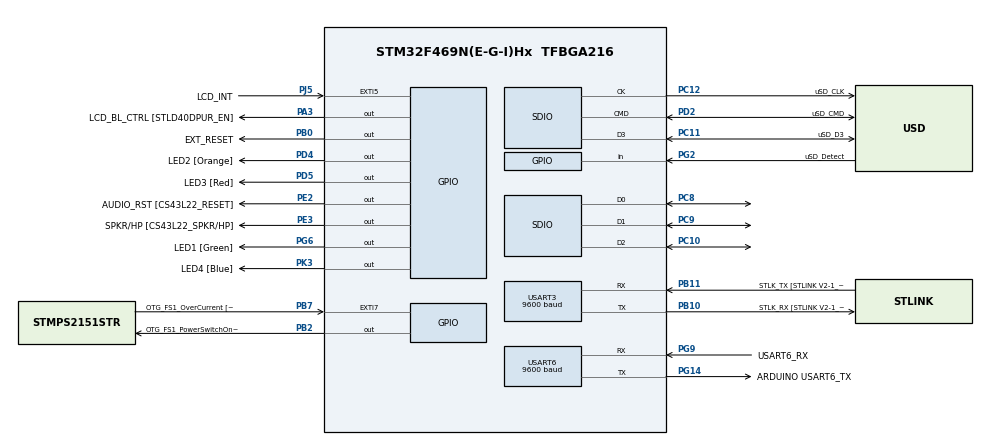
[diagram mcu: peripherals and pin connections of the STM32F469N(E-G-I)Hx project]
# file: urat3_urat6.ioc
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DSIHOST_CKN.GPIO_Label=DSI_CK_N
DSIHOST_CKN.Signal=DSIHOST_CKN
DSIHOST_CKP.GPIO_Label=DSI_CK_P
DSIHOST_CKP.Signal=DSIHOST_CKP
DSIHOST_D0N.GPIO_Label=DSI_D0_N
DSIHOST_D0N.Signal=DSIHOST_D0N
DSIHOST_D0P.GPIO_Label=DSI_D0_P
DSIHOST_D0P.Signal=DSIHOST_D0P
DSIHOST_D1N.GPIO_Label=DSI_D1_N
DSIHOST_D1N.Signal=DSIHOST_D1N
DSIHOST_D1P.GPIO_Label=DSI_D1_P
DSIHOST_D1P.Signal=DSIHOST_D1P
Dma.Request0=SDIO_RX
Dma.Request1=SDIO_TX
Dma.SDIO_RX.0.Direction=DMA_PERIPH_TO_MEMORY
Dma.SDIO_RX.0.FIFOMode=DMA_FIFOMODE_ENABLE
Dma.SDIO_RX.0.FIFOThreshold=DMA_FIFO_THRESHOLD_FULL
Dma.SDIO_RX.0.Instance=DMA2_Stream3
Dma.SDIO_RX.0.MemBurst=DMA_MBURST_INC4
Dma.SDIO_RX.0.MemDataAlignment=DMA_MDATAALIGN_WORD
Dma.SDIO_RX.0.MemInc=DMA_MINC_ENABLE
Dma.SDIO_RX.0.Mode=DMA_PFCTRL
Dma.SDIO_RX.0.PeriphBurst=DMA_PBURST_INC4
Dma.SDIO_RX.0.PeriphDataAlignment=DMA_PDATAALIGN_WORD
Dma.SDIO_RX.0.PeriphInc=DMA_PINC_DISABLE
Dma.SDIO_RX.0.Priority=DMA_PRIORITY_LOW
Dma.SDIO_TX.1.Direction=DMA_MEMORY_TO_PERIPH
Dma.SDIO_TX.1.FIFOMode=DMA_FIFOMODE_ENABLE
Dma.SDIO_TX.1.FIFOThreshold=DMA_FIFO_THRESHOLD_FULL
Dma.SDIO_TX.1.Instance=DMA2_Stream6
Dma.SDIO_TX.1.MemBurst=DMA_MBURST_INC4
Dma.SDIO_TX.1.MemDataAlignment=DMA_MDATAALIGN_WORD
Dma.SDIO_TX.1.MemInc=DMA_MINC_ENABLE
Dma.SDIO_TX.1.Mode=DMA_PFCTRL
Dma.SDIO_TX.1.PeriphBurst=DMA_PBURST_INC4
Dma.SDIO_TX.1.PeriphDataAlignment=DMA_PDATAALIGN_WORD
Dma.SDIO_TX.1.PeriphInc=DMA_PINC_DISABLE
Dma.SDIO_TX.1.Priority=DMA_PRIORITY_LOW
Mcu.Family=STM32F4
Mcu.Name=STM32F469N(E-G-I)Hx
Mcu.Package=TFBGA216
NVIC.DMA2_Stream3_IRQn=true\:0\:0\:false\:false\:true
NVIC.DMA2_Stream6_IRQn=true\:0\:0\:false\:false\:true
NVIC.PriorityGroup=NVIC_PRIORITYGROUP_4
NVIC.SDIO_IRQn=true\:0\:0\:false\:false\:true
NVIC.USART3_IRQn=true\:0\:0\:false\:false\:true
NVIC.USART6_IRQn=true\:0\:0\:false\:false\:true
PA0/WKUP.GPIO_Label=WAKEUP [B2]
PA0/WKUP.Signal=SYS_WKUP
PA10.GPIO_Label=USB_FS1_ID
PA10.GPIO_Mode=GPIO_MODE_AF_PP
PA10.GPIO_PuPd=GPIO_NOPULL
PA10.GPIO_Speed=GPIO_SPEED_FREQ_VERY_HIGH
PA10.Signal=USB_OTG_FS_ID
PA11.GPIO_Label=USB_FS1_N
PA11.GPIO_Mode=GPIO_MODE_AF_PP
PA11.GPIO_PuPd=GPIO_NOPULL
PA11.GPIO_Speed=GPIO_SPEED_FREQ_VERY_HIGH
PA11.Signal=USB_OTG_FS_DM
PA12.GPIO_Label=USB_FS1_P
PA12.GPIO_Mode=GPIO_MODE_AF_PP
PA12.GPIO_PuPd=GPIO_NOPULL
PA12.GPIO_Speed=GPIO_SPEED_FREQ_VERY_HIGH
PA12.Signal=USB_OTG_FS_DP
PA13.GPIO_Label=SWDIO
PA13.Signal=SYS_JTMS-SWDIO
PA14.GPIO_Label=SWCLK
PA14.Signal=SYS_JTCK-SWCLK
PA3.GPIO_Label=LCD_BL_CTRL [STLD40DPUR_EN]
PA3.Signal=GPIO_Output
PA9.GPIO_Label=VBUS_FS1
PA9.GPIO_Mode=GPIO_MODE_AF_PP
PA9.GPIO_PuPd=GPIO_NOPULL
PA9.GPIO_Speed=GPIO_SPEED_FREQ_VERY_HIGH
PA9.Signal=USB_OTG_FS_VBUS
PB0.GPIO_Label=EXT_RESET
PB0.Signal=GPIO_Output
PB10.GPIO_Label=STLK_RX [STLINK V2-1_U2_RX]
PB10.Mode=Asynchronous
PB10.Signal=USART3_TX
PB11.GPIO_Label=STLK_TX [STLINK V2-1_U2_TX]
PB11.Mode=Asynchronous
PB11.Signal=USART3_RX
PB2/BOOT1.GPIO_Label=OTG_FS1_PowerSwitchOn [STMPS2151STR_En]
PB2/BOOT1.Signal=GPIO_Output
PB3.GPIO_Label=I2S3_CK
PB3.GPIO_Mode=GPIO_MODE_AF_PP
PB3.GPIO_PuPd=GPIO_NOPULL
PB3.GPIO_Speed=GPIO_SPEED_FREQ_LOW
PB3.Signal=I2S3_CK
PB6.GPIO_Label=QSPI_BK1_NCS [N25Q128A13EF840F_S]
PB6.GPIO_Mode=GPIO_MODE_AF_PP
PB6.GPIO_PuPd=GPIO_NOPULL
PB6.GPIO_Speed=GPIO_SPEED_FREQ_VERY_HIGH
PB6.Signal=QUADSPI_BK1_NCS
PB7.GPIO_Label=OTG_FS1_OverCurrent [STMPS2151STR_FAULT]
PB7.GPIO_ModeDefaultEXTI=GPIO_MODE_IT_RISING
PB7.GPIO_PuPd=GPIO_NOPULL
PB7.Signal=GPXTI7
PB8.GPIO_Label=I2C1_SCL
PB8.GPIO_Mode=GPIO_MODE_AF_OD
PB8.GPIO_PuPdOD=GPIO_PULLUP
PB8.GPIO_Speed=GPIO_SPEED_FREQ_VERY_HIGH
PB8.Signal=I2C1_SCL
PB9.GPIO_Label=I2C1_SDA
PB9.GPIO_Mode=GPIO_MODE_AF_OD
PB9.GPIO_PuPdOD=GPIO_PULLUP
PB9.GPIO_Speed=GPIO_SPEED_FREQ_VERY_HIGH
PB9.Signal=I2C1_SDA
PC0.GPIO_Label=SDNWE [MT48LC4M32B2B5-6A_WE]
PC0.Signal=FMC_SDNWE
PC10.Mode=SD_4_bits_Wide_bus
PC10.Signal=SDIO_D2
PC11.GPIO_Label=uSD_D3
PC11.GPIO_Mode=GPIO_MODE_AF_PP
PC11.GPIO_PuPd=GPIO_NOPULL
PC11.GPIO_Speed_High_Default=GPIO_SPEED_FREQ_VERY_HIGH
PC11.Mode=SD_4_bits_Wide_bus
PC11.Signal=SDIO_D3
PC12.GPIO_Label=uSD_CLK
PC12.GPIO_Mode=GPIO_MODE_AF_PP
PC12.GPIO_PuPd=GPIO_NOPULL
PC12.GPIO_Speed_High_Default=GPIO_SPEED_FREQ_VERY_HIGH
PC12.Mode=SD_4_bits_Wide_bus
PC12.Signal=SDIO_CK
PC14/OSC32_IN.Signal=RCC_OSC32_IN
PC15/OSC32_OUT.Signal=RCC_OSC32_OUT
PC8.Mode=SD_4_bits_Wide_bus
PC8.Signal=SDIO_D0
PC9.Mode=SD_4_bits_Wide_bus
PC9.Signal=SDIO_D1
PD0.GPIO_Label=D2
PD0.GPIO_Mode=GPIO_MODE_AF_PP
PD0.GPIO_PuPd=GPIO_NOPULL
PD0.GPIO_Speed_High_Default=GPIO_SPEED_FREQ_VERY_HIGH
PD0.Signal=FMC_D2_DA2
PD1.GPIO_Label=D3
PD1.GPIO_Mode=GPIO_MODE_AF_PP
PD1.GPIO_PuPd=GPIO_NOPULL
PD1.GPIO_Speed_High_Default=GPIO_SPEED_FREQ_VERY_HIGH
PD1.Signal=FMC_D3_DA3
PD10.GPIO_Label=D15
PD10.Signal=FMC_D15_DA15
PD13.GPIO_Label=MIC_CK [MP34DT01TR_CLK]
PD13.Signal=S_TIM4_CH2
PD14.GPIO_Label=D0
PD14.Signal=FMC_D0_DA0
PD15.GPIO_Label=D1
PD15.Signal=FMC_D1_DA1
PD2.GPIO_Label=uSD_CMD
PD2.GPIO_Mode=GPIO_MODE_AF_PP
PD2.GPIO_PuPd=GPIO_NOPULL
PD2.GPIO_Speed_High_Default=GPIO_SPEED_FREQ_VERY_HIGH
PD2.Mode=SD_4_bits_Wide_bus
PD2.Signal=SDIO_CMD
PD4.GPIO_Label=LED2 [Orange]
PD4.GPIO_ModeDefaultOutputPP=GPIO_MODE_OUTPUT_OD
PD4.GPIO_PuPd=GPIO_NOPULL
PD4.GPIO_Speed=GPIO_SPEED_FREQ_LOW
PD4.Signal=GPIO_Output
PD5.GPIO_Label=LED3 [Red]
PD5.GPIO_ModeDefaultOutputPP=GPIO_MODE_OUTPUT_OD
PD5.GPIO_PuPd=GPIO_NOPULL
PD5.GPIO_Speed=GPIO_SPEED_FREQ_LOW
PD5.Signal=GPIO_Output
PD6.GPIO_Label=MIC_DATA [MP34DT01TR_DOUT]
PD6.GPIO_Mode=GPIO_MODE_AF_PP
PD6.GPIO_PuPd=GPIO_NOPULL
PD6.GPIO_Speed=GPIO_SPEED_FREQ_LOW
PD6.Signal=SAI1_SD_A
PD8.GPIO_Label=D13
PD8.Signal=FMC_D13_DA13
PD9.GPIO_Label=D14
PD9.Signal=FMC_D14_DA14
PE0.GPIO_Label=FMC_NBL0 [ MT48LC4M32B2B5-6A_DQM0]
PE0.GPIO_Mode=GPIO_MODE_AF_PP
PE0.GPIO_PuPd=GPIO_NOPULL
PE0.GPIO_Speed_High_Default=GPIO_SPEED_FREQ_VERY_HIGH
PE0.Signal=FMC_NBL0
PE1.GPIO_Label=FMC_NBL1 [ MT48LC4M32B2B5-6A_DQM1]
PE1.GPIO_Mode=GPIO_MODE_AF_PP
PE1.GPIO_PuPd=GPIO_NOPULL
PE1.GPIO_Speed_High_Default=GPIO_SPEED_FREQ_VERY_HIGH
PE1.Signal=FMC_NBL1
PE10.GPIO_Label=D7
PE10.Signal=FMC_D7_DA7
PE11.GPIO_Label=D8
PE11.Signal=FMC_D8_DA8
PE12.GPIO_Label=D9
PE12.Signal=FMC_D9_DA9
PE13.GPIO_Label=D10
PE13.Signal=FMC_D10_DA10
PE14.GPIO_Label=D11
PE14.Signal=FMC_D11_DA11
PE15.GPIO_Label=D12
PE15.Signal=FMC_D12_DA12
PE2.GPIO_Label=AUDIO_RST [CS43L22_RESET]
PE2.GPIO_ModeDefaultOutputPP=GPIO_MODE_OUTPUT_PP
PE2.GPIO_PuPd=GPIO_NOPULL
PE2.GPIO_Speed=GPIO_SPEED_FREQ_LOW
PE2.Signal=GPIO_Output
PE3.GPIO_Label=SPKR/HP [CS43L22_SPKR/HP]
PE3.GPIO_ModeDefaultOutputPP=GPIO_MODE_OUTPUT_PP
PE3.GPIO_PuPd=GPIO_NOPULL
PE3.GPIO_Speed=GPIO_SPEED_FREQ_LOW
PE3.Signal=GPIO_Output
PE4.GPIO_Label=SAI1_FSA [CS43L22_LRCK]
PE4.GPIO_Mode=GPIO_MODE_AF_PP
PE4.GPIO_PuPd=GPIO_NOPULL
PE4.GPIO_Speed=GPIO_SPEED_FREQ_LOW
PE4.Signal=SAI1_FS_A
PE5.GPIO_Label=SAI1_SCKA [CS43L22_CLK]
PE5.GPIO_Mode=GPIO_MODE_AF_PP
PE5.GPIO_PuPd=GPIO_NOPULL
PE5.GPIO_Speed=GPIO_SPEED_FREQ_LOW
PE5.Signal=SAI1_SCK_A
PE7.GPIO_Label=D4
PE7.Signal=FMC_D4_DA4
PE8.GPIO_Label=D5
PE8.Signal=FMC_D5_DA5
PE9.GPIO_Label=D6
PE9.Signal=FMC_D6_DA6
PF0.GPIO_Label=A0
PF0.GPIO_Mode=GPIO_MODE_AF_PP
PF0.GPIO_PuPd=GPIO_NOPULL
PF0.GPIO_Speed_High_Default=GPIO_SPEED_FREQ_VERY_HIGH
PF0.Signal=FMC_A0
PF1.GPIO_Label=A1
PF1.GPIO_Mode=GPIO_MODE_AF_PP
PF1.GPIO_PuPd=GPIO_NOPULL
PF1.GPIO_Speed_High_Default=GPIO_SPEED_FREQ_VERY_HIGH
PF1.Signal=FMC_A1
PF10.GPIO_Label=QSPI_CLK [N25Q128A13EF840F_C]
PF10.Signal=QUADSPI_CLK
PF11.GPIO_Label=SDNMT48LC4M32B2B5-6A_RAS]RAS [
PF11.Signal=FMC_SDNRAS
PF12.GPIO_Label=A6
PF12.Signal=FMC_A6
PF13.GPIO_Label=A7
PF13.Signal=FMC_A7
PF14.GPIO_Label=A8
PF14.Signal=FMC_A8
PF15.GPIO_Label=A9
PF15.Signal=FMC_A9
PF2.GPIO_Label=A2
PF2.GPIO_Mode=GPIO_MODE_AF_PP
PF2.GPIO_PuPd=GPIO_NOPULL
PF2.GPIO_Speed_High_Default=GPIO_SPEED_FREQ_VERY_HIGH
PF2.Signal=FMC_A2
PF3.GPIO_Label=A3
PF3.GPIO_Mode=GPIO_MODE_AF_PP
PF3.GPIO_PuPd=GPIO_NOPULL
PF3.GPIO_Speed_High_Default=GPIO_SPEED_FREQ_VERY_HIGH
PF3.Signal=FMC_A3
PF4.GPIO_Label=A4
PF4.GPIO_Mode=GPIO_MODE_AF_PP
PF4.GPIO_PuPd=GPIO_NOPULL
PF4.GPIO_Speed_High_Default=GPIO_SPEED_FREQ_VERY_HIGH
PF4.Signal=FMC_A4
PF5.GPIO_Label=A5
PF5.Signal=FMC_A5
PF6.GPIO_Label=QSPI_BK1_IO3 [N25Q128A13EF840F_DQ3]
PF6.Signal=QUADSPI_BK1_IO3
PF7.GPIO_Label=QSPI_BK1_IO2 [N25Q128A13EF840F_DQ2]
PF7.Signal=QUADSPI_BK1_IO2
PF8.GPIO_Label=QSPI_BK1_IO0 [N25Q128A13EF840F_DQ0]
PF8.Signal=QUADSPI_BK1_IO0
PF9.GPIO_Label=QSPI_BK1_IO1 [N25Q128A13EF840F_DQ1]
PF9.Signal=QUADSPI_BK1_IO1
PG0.GPIO_Label=A10
PG0.Signal=FMC_A10
PG1.GPIO_Label=A11
PG1.Signal=FMC_A11
PG14.GPIO_Label=ARDUINO USART6_TX
PG14.GPIO_Mode=GPIO_MODE_AF_PP
PG14.GPIO_PuPd=GPIO_NOPULL
PG14.GPIO_Speed=GPIO_SPEED_FREQ_VERY_HIGH
PG14.Mode=Asynchronous
PG14.Signal=USART6_TX
PG15.GPIO_Label=SDNCAS [MT48LC4M32B2B5-6A_CAS]
PG15.GPIO_Mode=GPIO_MODE_AF_PP
PG15.GPIO_PuPd=GPIO_NOPULL
PG15.GPIO_Speed_High_Default=GPIO_SPEED_FREQ_VERY_HIGH
PG15.Signal=FMC_SDNCAS
PG2.GPIO_Label=uSD_Detect
PG2.Signal=GPIO_Input
PG4.Signal=FMC_A14_BA0
PG5.Signal=FMC_A15_BA1
PG6.GPIO_Label=LED1 [Green]
PG6.GPIO_ModeDefaultOutputPP=GPIO_MODE_OUTPUT_OD
PG6.GPIO_PuPd=GPIO_NOPULL
PG6.GPIO_Speed=GPIO_SPEED_FREQ_LOW
PG6.Signal=GPIO_Output
PG7.GPIO_Label=SAI1_MCLKA [CS43L22_MCLK]
PG7.GPIO_Mode=GPIO_MODE_AF_PP
PG7.GPIO_PuPd=GPIO_NOPULL
PG7.GPIO_Speed=GPIO_SPEED_FREQ_LOW
PG7.Signal=SAI1_MCLK_A
PG8.Signal=FMC_SDCLK
PG9.GPIO_Label=USART6_RX
PG9.GPIO_Mode=GPIO_MODE_AF_PP
PG9.GPIO_PuPd=GPIO_NOPULL
PG9.GPIO_Speed=GPIO_SPEED_FREQ_VERY_HIGH
PG9.Mode=Asynchronous
PG9.Signal=USART6_RX
PH0/OSC_IN.Signal=RCC_OSC_IN
PH1/OSC_OUT.Signal=RCC_OSC_OUT
PH10.GPIO_Label=D18
PH10.Signal=FMC_D18
PH11.GPIO_Label=D19
PH11.Signal=FMC_D19
PH12.GPIO_Label=D20
PH12.Signal=FMC_D20
PH13.GPIO_Label=D21
PH13.GPIO_Mode=GPIO_MODE_AF_PP
PH13.GPIO_PuPd=GPIO_NOPULL
PH13.GPIO_Speed_High_Default=GPIO_SPEED_FREQ_VERY_HIGH
PH13.Signal=FMC_D21
PH14.GPIO_Label=D22
PH14.GPIO_Mode=GPIO_MODE_AF_PP
PH14.GPIO_PuPd=GPIO_NOPULL
PH14.GPIO_Speed_High_Default=GPIO_SPEED_FREQ_VERY_HIGH
PH14.Signal=FMC_D22
PH15.GPIO_Label=D23
PH15.GPIO_Mode=GPIO_MODE_AF_PP
PH15.GPIO_PuPd=GPIO_NOPULL
PH15.GPIO_Speed_High_Default=GPIO_SPEED_FREQ_VERY_HIGH
PH15.Signal=FMC_D23
PH2.GPIO_Label=SDCKE0 [MT48LC4M32B2B5-6A_CKE]
PH2.Signal=FMC_SDCKE0
PH3.GPIO_Label=SDNE0 [MT48LC4M32B2B5-6A_CS]
PH3.GPIO_Mode=GPIO_MODE_AF_PP
PH3.GPIO_PuPd=GPIO_NOPULL
PH3.GPIO_Speed_High_Default=GPIO_SPEED_FREQ_VERY_HIGH
PH3.Signal=FMC_SDNE0
PH4.GPIO_Label=I2C2_SCL [CS43L22_SCL]
PH4.GPIO_Mode=GPIO_MODE_AF_OD
PH4.GPIO_PuPdOD=GPIO_PULLUP
PH4.GPIO_Speed=GPIO_SPEED_FREQ_VERY_HIGH
PH4.Signal=I2C2_SCL
PH5.GPIO_Label=I2C2_SDA [CS43L22_SDA]
PH5.GPIO_Mode=GPIO_MODE_AF_OD
PH5.GPIO_PuPdOD=GPIO_PULLUP
PH5.GPIO_Speed=GPIO_SPEED_FREQ_VERY_HIGH
PH5.Signal=I2C2_SDA
PH8.GPIO_Label=D16
PH8.Signal=FMC_D16
PH9.GPIO_Label=D17
PH9.Signal=FMC_D17
PI0.GPIO_Label=D24
PI0.GPIO_Mode=GPIO_MODE_AF_PP
PI0.GPIO_PuPd=GPIO_NOPULL
PI0.GPIO_Speed_High_Default=GPIO_SPEED_FREQ_VERY_HIGH
PI0.Signal=FMC_D24
PI1.GPIO_Label=D25
PI1.GPIO_Mode=GPIO_MODE_AF_PP
PI1.GPIO_PuPd=GPIO_NOPULL
PI1.GPIO_Speed_High_Default=GPIO_SPEED_FREQ_VERY_HIGH
PI1.Signal=FMC_D25
PI10.GPIO_Label=D31
PI10.GPIO_Mode=GPIO_MODE_AF_PP
PI10.GPIO_PuPd=GPIO_NOPULL
PI10.GPIO_Speed_High_Default=GPIO_SPEED_FREQ_VERY_HIGH
PI10.Signal=FMC_D31
PI2.GPIO_Label=D26
PI2.GPIO_Mode=GPIO_MODE_AF_PP
PI2.GPIO_PuPd=GPIO_NOPULL
PI2.GPIO_Speed_High_Default=GPIO_SPEED_FREQ_VERY_HIGH
PI2.Signal=FMC_D26
PI3.GPIO_Label=D27
PI3.GPIO_Mode=GPIO_MODE_AF_PP
PI3.GPIO_PuPd=GPIO_NOPULL
PI3.GPIO_Speed_High_Default=GPIO_SPEED_FREQ_VERY_HIGH
PI3.Signal=FMC_D27
PI4.GPIO_Label=FMC_NBL2 [MT48LC4M32B2B5-6A_DQM2]
PI4.GPIO_Mode=GPIO_MODE_AF_PP
PI4.GPIO_PuPd=GPIO_NOPULL
PI4.GPIO_Speed_High_Default=GPIO_SPEED_FREQ_VERY_HIGH
PI4.Signal=FMC_NBL2
PI5.GPIO_Label=FMC_NBL3 [MT48LC4M32B2B5-6A_DQM3]
PI5.GPIO_Mode=GPIO_MODE_AF_PP
PI5.GPIO_PuPd=GPIO_NOPULL
PI5.GPIO_Speed_High_Default=GPIO_SPEED_FREQ_VERY_HIGH
PI5.Signal=FMC_NBL3
PI6.GPIO_Label=D28
PI6.GPIO_Mode=GPIO_MODE_AF_PP
PI6.GPIO_PuPd=GPIO_NOPULL
PI6.GPIO_Speed_High_Default=GPIO_SPEED_FREQ_VERY_HIGH
PI6.Signal=FMC_D28
PI7.GPIO_Label=D29
PI7.GPIO_Mode=GPIO_MODE_AF_PP
PI7.GPIO_PuPd=GPIO_NOPULL
PI7.GPIO_Speed_High_Default=GPIO_SPEED_FREQ_VERY_HIGH
PI7.Signal=FMC_D29
PI9.GPIO_Label=D30
PI9.GPIO_Mode=GPIO_MODE_AF_PP
PI9.GPIO_PuPd=GPIO_NOPULL
PI9.GPIO_Speed_High_Default=GPIO_SPEED_FREQ_VERY_HIGH
PI9.Signal=FMC_D30
PJ2.GPIO_Label=DSI_TE
PJ2.Signal=DSIHOST_TE
PJ5.GPIO_Label=LCD_INT
PJ5.Signal=GPXTI5
PK3.GPIO_Label=LED4 [Blue]
PK3.GPIO_ModeDefaultOutputPP=GPIO_MODE_OUTPUT_OD
PK3.GPIO_PuPd=GPIO_NOPULL
PK3.GPIO_Speed=GPIO_SPEED_FREQ_LOW
PK3.Signal=GPIO_Output
ProjectManager.HeapSize=0x200
ProjectManager.StackSize=0x400
ProjectManager.TargetToolchain=MDK-ARM V5
RCC.CortexFreq_Value=16000000
RCC.VCOOutputFreq_Value=192000000
SH.FMC_A0.0=FMC_A0
SH.FMC_A1.0=FMC_A1
SH.FMC_A10.0=FMC_A10
SH.FMC_A11.0=FMC_A11
SH.FMC_A14_BA0.0=FMC_BA0
SH.FMC_A15_BA1.0=FMC_BA1
SH.FMC_A2.0=FMC_A2
SH.FMC_A3.0=FMC_A3
SH.FMC_A4.0=FMC_A4
SH.FMC_A5.0=FMC_A5
SH.FMC_A6.0=FMC_A6
SH.FMC_A7.0=FMC_A7
SH.FMC_A8.0=FMC_A8
SH.FMC_A9.0=FMC_A9
SH.FMC_D0_DA0.0=FMC_D0
SH.FMC_D10_DA10.0=FMC_D10
SH.FMC_D11_DA11.0=FMC_D11
SH.FMC_D12_DA12.0=FMC_D12
SH.FMC_D13_DA13.0=FMC_D13
SH.FMC_D14_DA14.0=FMC_D14
SH.FMC_D15_DA15.0=FMC_D15
SH.FMC_D16.0=FMC_D16
SH.FMC_D17.0=FMC_D17
SH.FMC_D18.0=FMC_D18
SH.FMC_D19.0=FMC_D19
SH.FMC_D1_DA1.0=FMC_D1
SH.FMC_D20.0=FMC_D20
SH.FMC_D21.0=FMC_D21
SH.FMC_D22.0=FMC_D22
SH.FMC_D23.0=FMC_D23
SH.FMC_D24.0=FMC_D24
SH.FMC_D25.0=FMC_D25
SH.FMC_D26.0=FMC_D26
SH.FMC_D27.0=FMC_D27
SH.FMC_D28.0=FMC_D28
SH.FMC_D29.0=FMC_D29
SH.FMC_D2_DA2.0=FMC_D2
SH.FMC_D30.0=FMC_D30
SH.FMC_D31.0=FMC_D31
SH.FMC_D3_DA3.0=FMC_D3
SH.FMC_D4_DA4.0=FMC_D4
SH.FMC_D5_DA5.0=FMC_D5
SH.FMC_D6_DA6.0=FMC_D6
SH.FMC_D7_DA7.0=FMC_D7
SH.FMC_D8_DA8.0=FMC_D8
SH.FMC_D9_DA9.0=FMC_D9
SH.FMC_NBL0.0=FMC_NBL0
SH.FMC_NBL1.0=FMC_NBL1
SH.FMC_NBL2.0=FMC_NBL2
SH.FMC_NBL3.0=FMC_NBL3
SH.FMC_SDCLK.0=FMC_SDCLK
SH.FMC_SDNCAS.0=FMC_SDNCAS
SH.FMC_SDNRAS.0=FMC_SDNRAS
SH.FMC_SDNWE.0=FMC_SDNWE
SH.S_TIM4_CH2.0=TIM4_CH2
USART3.BaudRate=9600
USART3.VirtualMode=VM_ASYNC
USART6.BaudRate=9600
USART6.VirtualMode=VM_ASYNC
board=STM32F469I-DISCO

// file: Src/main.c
/**
  ******************************************************************************
  * File Name          : main.c
  * Description        : Main program body
  ******************************************************************************
  *
  * COPYRIGHT(c) 2017 STMicroelectronics
  *
  * Redistribution and use in source and binary forms, with or without modification,
  * are permitted provided that the following conditions are met:
  *   1. Redistributions of source code must retain the above copyright notice,
  *      this list of conditions and the following disclaimer.
  *   2. Redistributions in binary form must reproduce the above copyright notice,
  *      this list of conditions and the following disclaimer in the documentation
  *      and/or other materials provided with the distribution.
  *   3. Neither the name of STMicroelectronics nor the names of its contributors
  *      may be used to endorse or promote products derived from this software
  *      without specific prior written permission.
  *
  * THIS SOFTWARE IS PROVIDED BY THE COPYRIGHT HOLDERS AND CONTRIBUTORS "AS IS"
  * AND ANY EXPRESS OR IMPLIED WARRANTIES, INCLUDING, BUT NOT LIMITED TO, THE
  * IMPLIED WARRANTIES OF MERCHANTABILITY AND FITNESS FOR A PARTICULAR PURPOSE ARE
  * DISCLAIMED. IN NO EVENT SHALL THE COPYRIGHT HOLDER OR CONTRIBUTORS BE LIABLE
  * FOR ANY DIRECT, INDIRECT, INCIDENTAL, SPECIAL, EXEMPLARY, OR CONSEQUENTIAL
  * DAMAGES (INCLUDING, BUT NOT LIMITED TO, PROCUREMENT OF SUBSTITUTE GOODS OR
  * SERVICES; LOSS OF USE, DATA, OR PROFITS; OR BUSINESS INTERRUPTION) HOWEVER
  * CAUSED AND ON ANY THEORY OF LIABILITY, WHETHER IN CONTRACT, STRICT LIABILITY,
  * OR TORT (INCLUDING NEGLIGENCE OR OTHERWISE) ARISING IN ANY WAY OUT OF THE USE
  * OF THIS SOFTWARE, EVEN IF ADVISED OF THE POSSIBILITY OF SUCH DAMAGE.
  *
  ******************************************************************************
  */
#include "main.h"
#include "stm32f4xx_hal.h"
#include "dma.h"
#include "sdio.h"
#include "usart.h"
#include "gpio.h"
#include <string.h>

/* USER CODE BEGIN PV */
/* Private variables ---------------------------------------------------------*/
uint8_t aTxStartMessage[] = "\r\n****UART-Hyperterminal communication based on IT ****\r\nEnter 10 characters using keyboard :\r\n";

/* Buffer used for reception */
uint8_t aRxBuffer[20];
HAL_SD_CardInfoTypeDef *SDCardInfo1;
/* Private variables ---------------------------------------------------------*/
uint32_t Buffer_Tx[512/4], Buffer_Rx[512/4];
uint32_t i;
/* USER CODE END PV */

void SystemClock_Config(void);
void Error_Handler(void);

/* USER CODE BEGIN PFP */
/* Private function prototypes -----------------------------------------------*/

/* USER CODE END PFP */

int main(void)
{

  /* MCU Configuration----------------------------------------------------------*/

  /* Reset of all peripherals, Initializes the Flash interface and the Systick. */
  HAL_Init();

  /* Configure the system clock */
  SystemClock_Config();

  /* Initialize all configured peripherals */
  MX_GPIO_Init();
  MX_DMA_Init();
  MX_USART3_UART_Init();
  MX_USART6_UART_Init();
  MX_SDIO_SD_Init();
	SD_HandleTypeDef *cardHandle;

  /* USER CODE BEGIN 2 */
	HAL_UART_Transmit_IT(&huart6, (uint8_t *)aTxStartMessage, sizeof(aTxStartMessage));
  HAL_UART_Receive_IT(&huart6, (uint8_t *)aRxBuffer, 10);

	HAL_SD_GetCardInfo(cardHandle, SDCardInfo1);

	printf(" Warning: this program may erase all the TF card data. \r\n");

  printf("\r\n Initialize SD card successfully!\r\n\r\n");
  printf(" SD card information! \r\n");

  printf(" CardCapacity  : %llu \r\n",SDCardInfo1->BlockNbr);
  printf(" CardBlockSize : %d \r\n",SDCardInfo1->BlockSize);
  printf(" RCA           : %d \r\n",SDCardInfo1->RelCardAdd);
  printf(" CardType      : %d \r\n",SDCardInfo1->CardType);
  /* USER CODE END 2 */

  /* Infinite loop */
  while (1)
  {

  }

}

/** System Clock Configuration
*/
void SystemClock_Config(void)
{

  RCC_OscInitTypeDef RCC_OscInitStruct;
  RCC_ClkInitTypeDef RCC_ClkInitStruct;
  RCC_PeriphCLKInitTypeDef PeriphClkInitStruct;

    /**Configure the main internal regulator output voltage
    */
  __HAL_RCC_PWR_CLK_ENABLE();

  __HAL_PWR_VOLTAGESCALING_CONFIG(PWR_REGULATOR_VOLTAGE_SCALE3);

    /**Initializes the CPU, AHB and APB busses clocks
    */
  RCC_OscInitStruct.OscillatorType = RCC_OSCILLATORTYPE_HSI;
  RCC_OscInitStruct.HSIState = RCC_HSI_ON;
  RCC_OscInitStruct.HSICalibrationValue = 16;
  RCC_OscInitStruct.PLL.PLLState = RCC_PLL_ON;
  RCC_OscInitStruct.PLL.PLLSource = RCC_PLLSOURCE_HSI;
  RCC_OscInitStruct.PLL.PLLM = 16;
  RCC_OscInitStruct.PLL.PLLN = 192;
  RCC_OscInitStruct.PLL.PLLP = RCC_PLLP_DIV2;
  RCC_OscInitStruct.PLL.PLLQ = 4;
  RCC_OscInitStruct.PLL.PLLR = 2;
  if (HAL_RCC_OscConfig(&RCC_OscInitStruct) != HAL_OK)
  {
    Error_Handler();
  }

    /**Initializes the CPU, AHB and APB busses clocks
    */
  RCC_ClkInitStruct.ClockType = RCC_CLOCKTYPE_HCLK|RCC_CLOCKTYPE_SYSCLK
                              |RCC_CLOCKTYPE_PCLK1|RCC_CLOCKTYPE_PCLK2;
  RCC_ClkInitStruct.SYSCLKSource = RCC_SYSCLKSOURCE_HSI;
  RCC_ClkInitStruct.AHBCLKDivider = RCC_SYSCLK_DIV1;
  RCC_ClkInitStruct.APB1CLKDivider = RCC_HCLK_DIV1;
  RCC_ClkInitStruct.APB2CLKDivider = RCC_HCLK_DIV1;

  if (HAL_RCC_ClockConfig(&RCC_ClkInitStruct, FLASH_LATENCY_0) != HAL_OK)
  {
    Error_Handler();
  }

  PeriphClkInitStruct.PeriphClockSelection = RCC_PERIPHCLK_SDIO|RCC_PERIPHCLK_CLK48;
  PeriphClkInitStruct.Clk48ClockSelection = RCC_CLK48CLKSOURCE_PLLQ;
  PeriphClkInitStruct.SdioClockSelection = RCC_SDIOCLKSOURCE_CLK48;
  if (HAL_RCCEx_PeriphCLKConfig(&PeriphClkInitStruct) != HAL_OK)
  {
    Error_Handler();
  }

    /**Configure the Systick interrupt time
    */
  HAL_SYSTICK_Config(HAL_RCC_GetHCLKFreq()/1000);

    /**Configure the Systick
    */
  HAL_SYSTICK_CLKSourceConfig(SYSTICK_CLKSOURCE_HCLK);

  /* SysTick_IRQn interrupt configuration */
  HAL_NVIC_SetPriority(SysTick_IRQn, 0, 0);
}

void Error_Handler(void)
{
  while(1)
  {
  }
}

/************************ (C) COPYRIGHT STMicroelectronics *****END OF FILE****/
